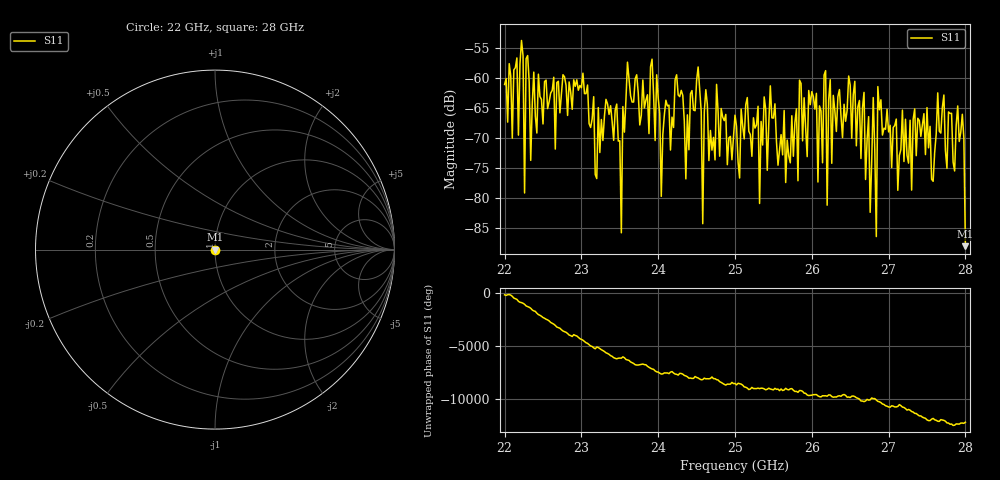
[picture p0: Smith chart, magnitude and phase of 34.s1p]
#  HZ  S  RI  R  50.00
! Rohde & Schwarz ZVA40 4Ports - Version 3.90 - 1145.1110k42 SN: 100403
! Date: 2023-10-04 08:00:31
! Measurement: S12
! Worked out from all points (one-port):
!   301 points, 22 GHz to 28 GHz, reference 50 ohm
!   lowest |S11| = -88.1 dB at 28 GHz (marker M1), VSWR 1.00, Z = 50 + j0.00324 ohm
!   |S11| at or under -10 dB: start of sweep to end of sweep
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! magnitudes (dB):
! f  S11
! 22 GHz  -61.1
! 22.18 GHz  -69.6
! 22.22 GHz  -53.8
! 22.26 GHz  -79.2
! 22.28 GHz  -56.8
! 22.34 GHz  -73.8
! 22.76 GHz  -59.5
! 23.5 GHz  -70.5
! 23.92 GHz  -56.9
! 24.04 GHz  -79.8
! 24.26 GHz  -62.9
! 24.36 GHz  -76.9
! 24.52 GHz  -58.2
! 24.58 GHz  -84.3
! 24.62 GHz  -62.0
! 25 GHz  -66.2
! 25.76 GHz  -73.1
! 26.18 GHz  -58.8
! 26.2 GHz  -81.2
! 26.24 GHz  -60.3
! 26.5 GHz  -61.2
! 26.76 GHz  -82.4
! 26.8 GHz  -63.3
! 26.84 GHz  -86.5
! 26.86 GHz  -61.5
! 27.26 GHz  -74.2
! 27.72 GHz  -62.9
! 28 GHz  -88.1
